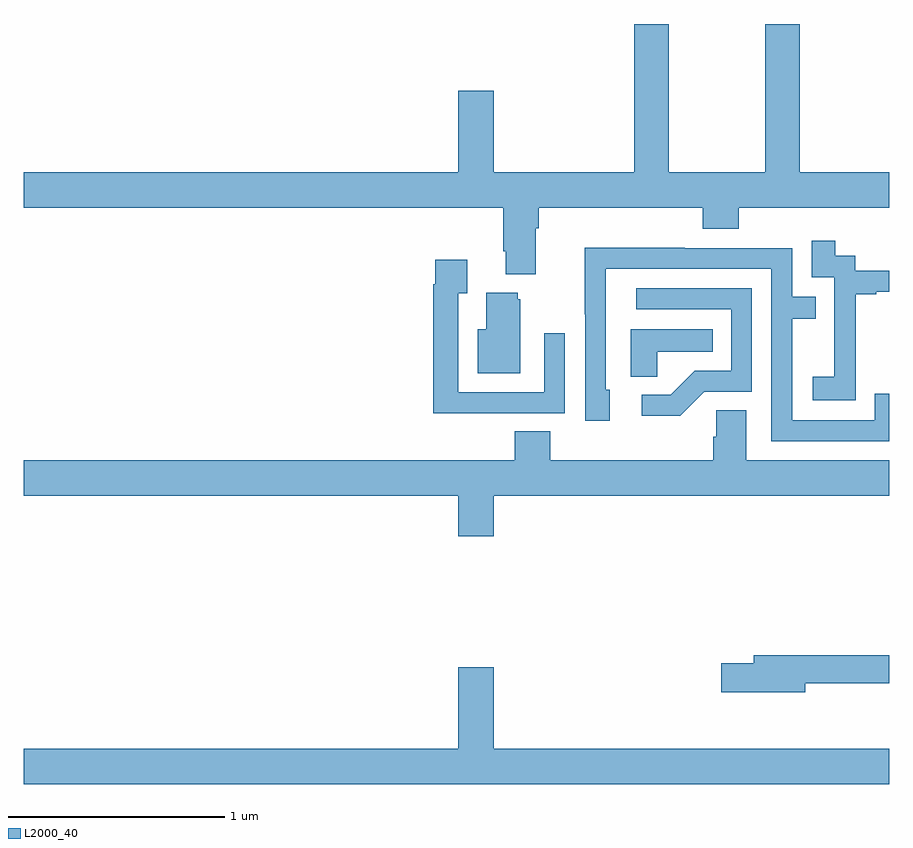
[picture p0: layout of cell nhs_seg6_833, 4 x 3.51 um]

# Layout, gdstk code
import gdstk
lib = gdstk.Library(unit=1e-6, precision=1e-09)
def P(c, l, *ps):  # polygons
    for p in ps: c.add(gdstk.Polygon(p, *l))
L2000_40 = (2000, 40)

nhs_seg6_833 = lib.new_cell('nhs_seg6_833')
P(nhs_seg6_833, L2000_40, [(165.367,964.556),(165.38,964.556),(165.38,964.652),(166.139,964.652),(166.139,964.553),(166.304,964.553),(166.304,964.652),(167,964.652),(167,964.816),(166.586,964.816),(166.586,965.5),(166.426,965.5),(166.426,964.816),(165.981,964.816),(165.981,965.5),(165.821,965.5),(165.821,964.816),(165.172,964.816),(165.172,965.191),(165.008,965.191),(165.008,964.816),(163,964.816),(163,964.652),(165.215,964.652),(165.215,964.45),(165.227,964.45),(165.227,964.343),(165.367,964.343)],
  [(166.845,963.967),(166.844,963.967),(166.844,964.251),(166.939,964.251),(166.939,964.263),(167,964.263),(167,964.359),(166.842,964.359),(166.842,964.428),(166.75,964.428),(166.75,964.498),(166.641,964.498),(166.641,964.329),(166.746,964.329),(166.746,964.1),(166.745,964.1),(166.745,963.871),(166.647,963.871),(166.647,963.761),(166.845,963.761)],
  [(167,963.792),(166.932,963.792),(166.932,963.669),(166.551,963.669),(166.551,964.138),(166.661,964.138),(166.661,964.239),(166.551,964.239),(166.551,964.464),(166.055,964.464),(166.055,964.466),(165.592,964.466),(165.592,964.159),(165.594,964.159),(165.594,963.666),(165.709,963.666),(165.709,963.81),(165.69,963.81),(165.69,964.368),(166.455,964.368),(166.455,963.573),(167,963.573)],
  [(165.185,963.702),(165.501,963.702),(165.501,964.072),(165.405,964.072),(165.405,963.798),(165.009,963.798),(165.009,964.255),(165.049,964.255),(165.049,964.411),(164.901,964.411),(164.901,964.298),(164.893,964.298),(164.893,963.701),(165.185,963.701)],
  [(166.146,963.801),(166.365,963.801),(166.365,964.278),(165.831,964.278),(165.831,964.182),(166.269,964.182),(166.269,963.897),(166.1,963.897),(165.989,963.786),(165.855,963.786),(165.855,963.689),(166.033,963.689)],
  [(165.295,964.227),(165.284,964.227),(165.284,964.258),(165.137,964.258),(165.137,964.09),(165.098,964.09),(165.098,963.887),(165.295,963.887)],
  [(165.927,963.986),(166.184,963.986),(166.184,964.09),(165.806,964.09),(165.806,963.871),(165.927,963.871)],
  [(165.172,963.32),(167,963.32),(167,963.484),(166.339,963.484),(166.339,963.716),(166.2,963.716),(166.2,963.593),(166.187,963.593),(166.187,963.484),(165.434,963.484),(165.434,963.617),(165.269,963.617),(165.269,963.484),(163,963.484),(163,963.32),(165.008,963.32),(165.008,963.132),(165.172,963.132)],
  [(166.612,962.454),(167,962.454),(167,962.582),(166.373,962.582),(166.373,962.546),(166.224,962.546),(166.224,962.411),(166.612,962.411)],
  [(167,962.152),(165.172,962.152),(165.172,962.527),(165.008,962.527),(165.008,962.152),(163,962.152),(163,961.988),(167,961.988)])

lib.write_gds('nhs_seg6_833.gds')
